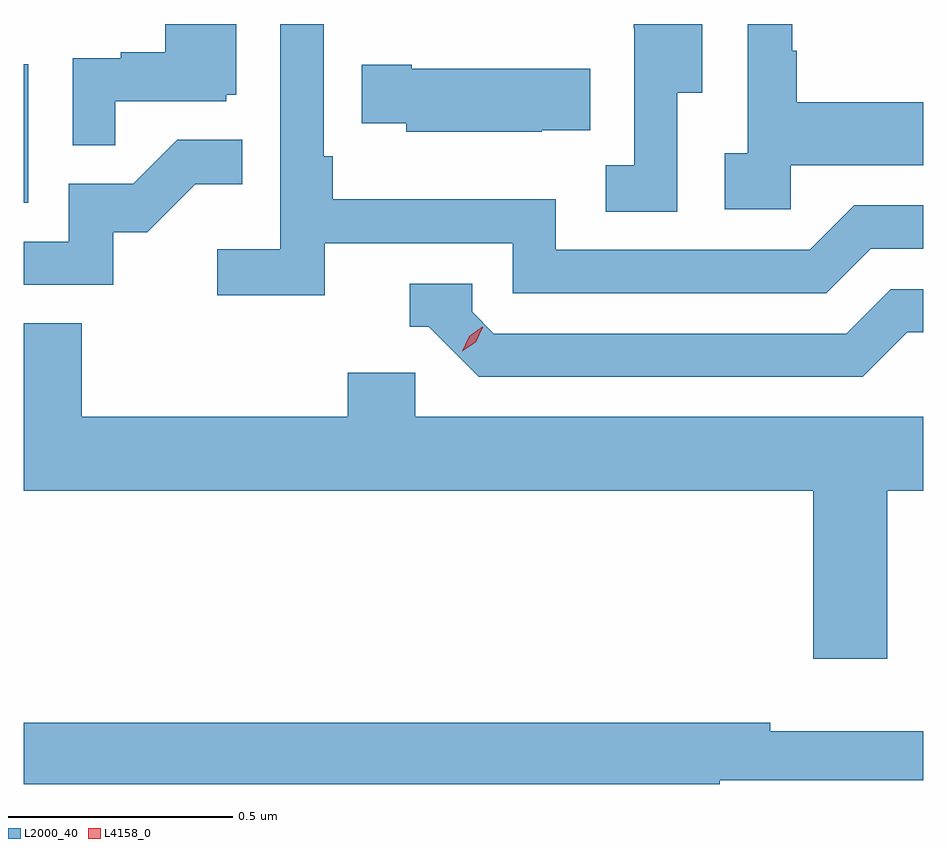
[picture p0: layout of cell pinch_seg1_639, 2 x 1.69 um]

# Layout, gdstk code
import gdstk
lib = gdstk.Library(unit=1e-6, precision=1e-09)
def R(c, l, rs):  # rectangles x0, y0, x1, y1
    for r in rs: c.add(gdstk.rectangle(r[:2], r[2:], *l))
def P(c, l, *ps):  # polygons
    for p in ps: c.add(gdstk.Polygon(p, *l))
L2000_40 = (2000, 40)
L4158_0 = (4158, 0)

pinch_seg1_639 = lib.new_cell('pinch_seg1_639')
R(pinch_seg1_639, L2000_40, [(1110.305,520.404,1110.316,520.711)])
P(pinch_seg1_639, L2000_40, [(1110.974,520.314),(1111.392,520.314),(1111.392,520.203),(1112.089,520.203),(1112.188,520.302),(1112.305,520.302),(1112.305,520.398),(1112.151,520.398),(1112.052,520.299),(1111.488,520.299),(1111.488,520.411),(1110.992,520.411),(1110.992,520.507),(1110.972,520.507),(1110.972,520.801),(1110.876,520.801),(1110.876,520.3),(1110.735,520.3),(1110.735,520.198),(1110.974,520.198)],
  [(1111.758,520.648),(1111.813,520.648),(1111.813,520.801),(1111.661,520.801),(1111.661,520.791),(1111.662,520.791),(1111.662,520.487),(1111.599,520.487),(1111.599,520.384),(1111.758,520.384)],
  [(1112.01,520.487),(1112.305,520.487),(1112.305,520.627),(1112.023,520.627),(1112.023,520.742),(1112.013,520.742),(1112.013,520.801),(1111.914,520.801),(1111.914,520.514),(1111.863,520.514),(1111.863,520.389),(1112.01,520.389)],
  [(1110.509,520.629),(1110.756,520.629),(1110.756,520.644),(1110.778,520.644),(1110.778,520.801),(1110.62,520.801),(1110.62,520.738),(1110.521,520.738),(1110.521,520.725),(1110.414,520.725),(1110.414,520.531),(1110.509,520.531)],
  [(1111.457,520.565),(1111.565,520.565),(1111.565,520.702),(1111.168,520.702),(1111.168,520.71),(1111.057,520.71),(1111.057,520.58),(1111.155,520.58),(1111.155,520.562),(1111.457,520.562)],
  [(1110.504,520.338),(1110.58,520.338),(1110.687,520.445),(1110.791,520.445),(1110.791,520.544),(1110.647,520.544),(1110.549,520.446),(1110.405,520.446),(1110.405,520.317),(1110.305,520.317),(1110.305,520.221),(1110.504,520.221)],
  [(1112.269,520.116),(1112.305,520.116),(1112.305,520.212),(1112.232,520.212),(1112.133,520.113),(1111.35,520.113),(1111.302,520.161),(1111.302,520.224),(1111.163,520.224),(1111.163,520.128),(1111.206,520.128),(1111.317,520.017),(1112.17,520.017)],
  [(1112.224,519.764),(1112.305,519.764),(1112.305,519.928),(1111.176,519.928),(1111.176,520.026),(1111.025,520.026),(1111.025,519.928),(1110.434,519.928),(1110.434,520.136),(1110.305,520.136),(1110.305,519.764),(1112.06,519.764),(1112.06,519.39),(1112.224,519.39)],
  [(1111.852,519.12),(1112.305,519.12),(1112.305,519.229),(1111.964,519.229),(1111.964,519.248),(1110.305,519.248),(1110.305,519.112),(1111.852,519.112)])
P(pinch_seg1_639, L4158_0, [(1111.28,520.074),(1111.28,520.074),(1111.295,520.107),(1111.325,520.128),(1111.326,520.128),(1111.326,520.127),(1111.31,520.094),(1111.28,520.074)])

lib.write_gds('pinch_seg1_639.gds')
